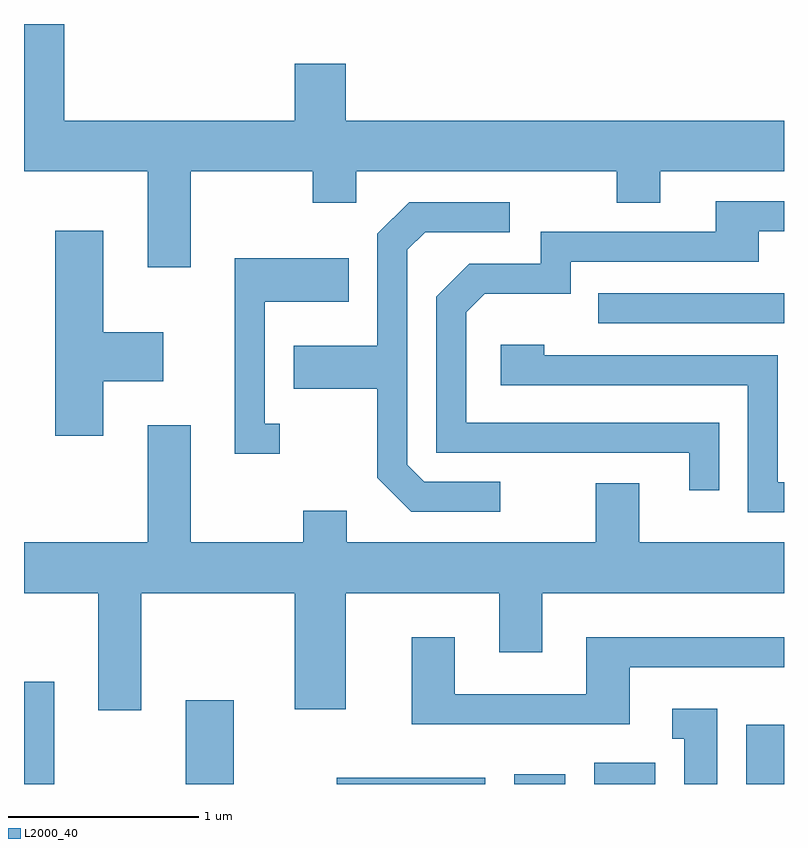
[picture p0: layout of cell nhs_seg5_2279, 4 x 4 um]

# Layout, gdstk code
import gdstk
lib = gdstk.Library(unit=1e-6, precision=1e-09)
def R(c, l, rs):  # rectangles x0, y0, x1, y1
    for r in rs: c.add(gdstk.rectangle(r[:2], r[2:], *l))
def P(c, l, *ps):  # polygons
    for p in ps: c.add(gdstk.Polygon(p, *l))
L2000_40 = (2000, 40)

nhs_seg5_2279 = lib.new_cell('nhs_seg5_2279')
R(nhs_seg5_2279, L2000_40, [(253.611,1398.072,253.769,1398.609), (254.461,1398.072,254.714,1398.514), (255.256,1398.072,256.039,1398.104), (256.191,1398.072,256.459,1398.124), (256.611,1398.072,256.934,1398.184), (257.411,1398.072,257.611,1398.384), (256.633,1400.496,257.611,1400.654)])
P(nhs_seg5_2279, L2000_40, [(254.489,1401.296),(255.131,1401.296),(255.131,1401.131),(255.359,1401.131),(255.359,1401.296),(256.731,1401.296),(256.731,1401.131),(256.959,1401.131),(256.959,1401.296),(257.611,1401.296),(257.611,1401.564),(255.304,1401.564),(255.304,1401.864),(255.036,1401.864),(255.036,1401.564),(253.824,1401.564),(253.824,1402.072),(253.611,1402.072),(253.611,1401.296),(254.261,1401.296),(254.261,1400.791),(254.489,1400.791)],
  [(257.269,1399.974),(255.939,1399.974),(255.939,1400.554),(256.037,1400.651),(256.489,1400.651),(256.489,1400.821),(257.479,1400.821),(257.479,1400.981),(257.611,1400.981),(257.611,1401.139),(257.251,1401.139),(257.251,1400.979),(256.331,1400.979),(256.331,1400.809),(255.954,1400.809),(255.781,1400.637),(255.781,1399.816),(257.111,1399.816),(257.111,1399.618),(257.269,1399.618)],
  [(256.118,1399.664),(255.717,1399.664),(255.629,1399.752),(255.629,1400.884),(255.722,1400.976),(256.168,1400.976),(256.168,1401.134),(255.639,1401.134),(255.471,1400.967),(255.471,1400.379),(255.031,1400.379),(255.031,1400.151),(255.471,1400.151),(255.471,1399.684),(255.649,1399.506),(256.118,1399.506)],
  [(254.029,1400.191),(254.344,1400.191),(254.344,1400.449),(254.029,1400.449),(254.029,1400.984),(253.776,1400.984),(253.776,1399.906),(254.029,1399.906)],
  [(254.958,1399.969),(254.879,1399.969),(254.879,1400.611),(255.319,1400.611),(255.319,1400.839),(254.721,1400.839),(254.721,1399.811),(254.958,1399.811)],
  [(257.611,1399.659),(257.579,1399.659),(257.579,1400.329),(256.349,1400.329),(256.349,1400.384),(256.121,1400.384),(256.121,1400.171),(257.421,1400.171),(257.421,1399.501),(257.611,1399.501)],
  [(254.229,1399.076),(255.036,1399.076),(255.036,1398.466),(255.304,1398.466),(255.304,1399.076),(256.111,1399.076),(256.111,1398.766),(256.339,1398.766),(256.339,1399.076),(257.611,1399.076),(257.611,1399.344),(256.849,1399.344),(256.849,1399.654),(256.621,1399.654),(256.621,1399.344),(255.309,1399.344),(255.309,1399.509),(255.081,1399.509),(255.081,1399.344),(254.489,1399.344),(254.489,1399.959),(254.261,1399.959),(254.261,1399.344),(253.611,1399.344),(253.611,1399.076),(254.001,1399.076),(254.001,1398.461),(254.229,1398.461)],
  [(256.799,1398.686),(257.611,1398.686),(257.611,1398.844),(256.571,1398.844),(256.571,1398.544),(255.879,1398.544),(255.879,1398.844),(255.651,1398.844),(255.651,1398.386),(256.799,1398.386)],
  [(257.259,1398.469),(257.022,1398.469),(257.022,1398.311),(257.086,1398.311),(257.086,1398.072),(257.259,1398.072)])

lib.write_gds('nhs_seg5_2279.gds')
